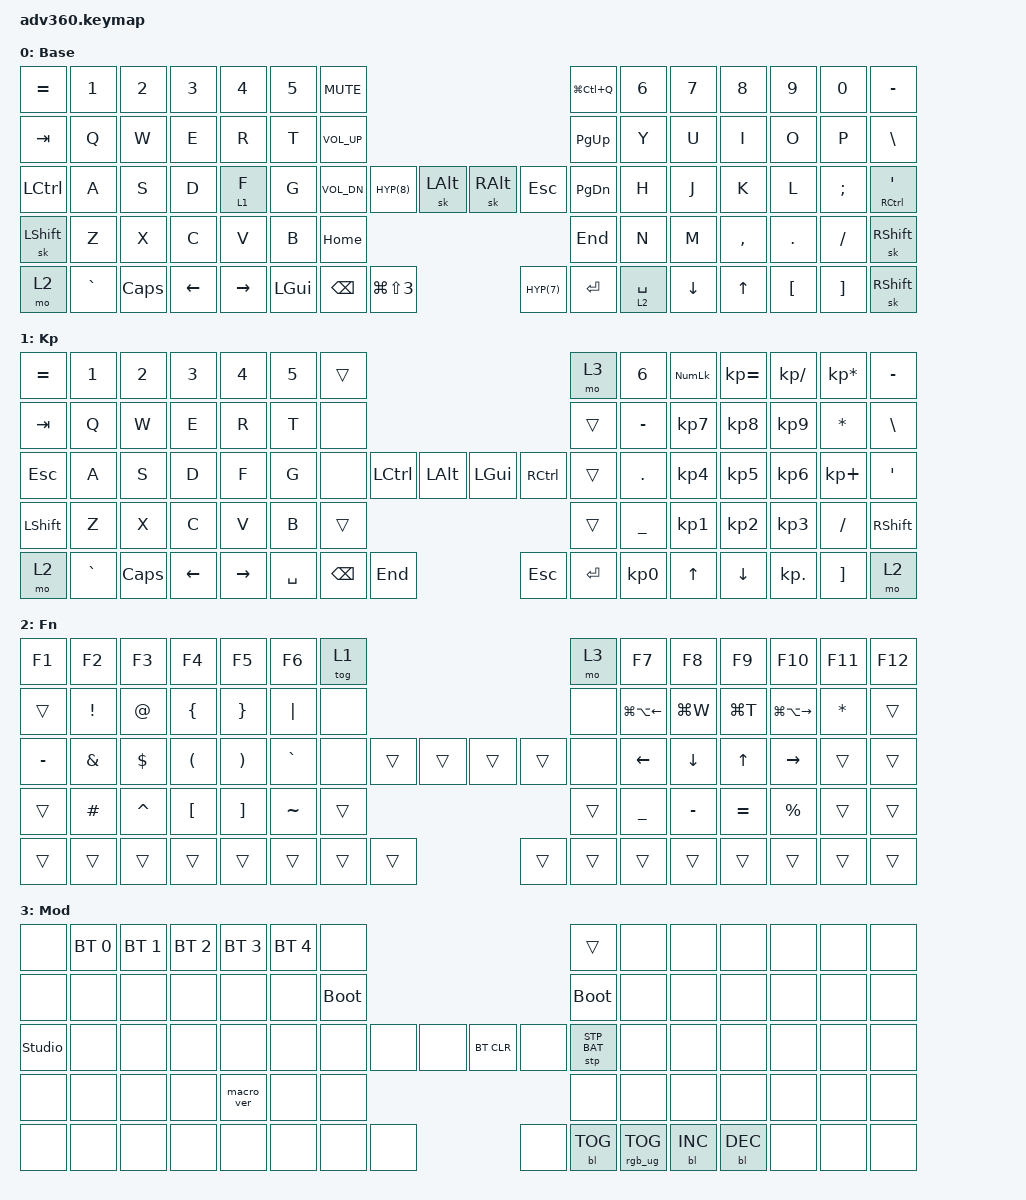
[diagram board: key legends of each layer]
#include <behaviors.dtsi>
#include <dt-bindings/zmk/keys.h>
#include <dt-bindings/zmk/bt.h>
#include <dt-bindings/zmk/rgb.h>
#include <dt-bindings/zmk/stp.h>
#include <dt-bindings/zmk/backlight.h>
#include <dt-bindings/zmk/pointing.h>

&lt {
    quick_tap_ms = <200>;
};

&mt {
    tapping-term-ms = <200>;
    flavor = "tap-preferred";
    retro-tap;
};

&sk {
    release-after-ms = <2000>;
    quick-release;
};

/ {

#define HYP(key) LS(LC(LA(LG(key))))
#define HYPER    LS(LC(LA(LGUI)))
#define MACLOCK  LG(LC(Q))

#define BNEW LG(T) 
#define BCLS LG(W) 
#define BNEXT LG(LA(RIGHT))
#define BPREV LG(LA(LEFT))


};

/ {
    behaviors {
      #include "macros.dtsi"
      #include "version.dtsi"

      hm: homerow_mods {
          compatible = "zmk,behavior-hold-tap";
          label = "HOMEROW_MODS";
          #binding-cells = <2>;
          tapping-term-ms = <200>;
          quick_tap_ms = <175>;
          flavor = "tap-preferred";
          bindings = <&kp>, <&kp>;
      };
    };

  keymap {
    compatible = "zmk,keymap";
    
    default_layer {
      display-name = "Base";
      bindings = <
        &kp EQUAL &kp N1    &kp N2   &kp N3   &kp N4     &kp N5 &kp C_MUTE                                                              &kp MACLOCK  &kp N6 &kp N7   &kp N8    &kp N9   &kp N0   &kp MINUS
        &kp TAB   &kp Q     &kp W    &kp E    &kp R      &kp T  &kp C_VOL_UP                                                            &kp PG_UP  &kp Y  &kp U    &kp I     &kp O    &kp P    &kp BSLH
        &kp LCTRL &kp A     &kp S    &kp D    &lt 1 F    &kp G  &kp C_VOL_DN           &kp HYP(8) &sk LALT &sk RALT  &kp ESC           &kp PG_DN &kp H  &kp J    &kp K     &kp L    &kp SEMI &mt RCTRL SQT
        &sk LSHFT   &kp Z     &kp X    &kp C    &kp V      &kp B                            &kp HOME  &kp END                                       &kp N  &kp M    &kp COMMA &kp DOT  &kp FSLH &sk RSHFT
        &mo 2 &kp GRAVE &kp CAPS &kp LEFT &kp RIGHT                &kp LGUI &kp BSPC  &kp LG(LS(N3))  &kp HYP(7) &kp ENTER &lt 2 SPACE             &kp DOWN &kp UP &kp LBKT  &kp RBKT &sk RSHFT
      >;
    };

    keypad {
      display-name = "Kp";
      bindings = <
        &kp EQUAL &kp N1    &kp N2   &kp N3   &kp N4     &kp N5 &trans                                                           &mo 3 &kp N6    &kp KP_NUM &kp KP_EQUAL &kp KP_DIVIDE &kp KP_MULTIPLY &kp MINUS
        &kp TAB   &kp Q     &kp W    &kp E    &kp R      &kp T  &none                                                            &trans &kp MINUS &kp KP_N7  &kp KP_N8    &kp KP_N9     &kp STAR        &kp BSLH
        &kp ESC   &kp A     &kp S    &kp D    &kp F      &kp G  &none           &kp LCTRL &kp LALT &kp LGUI  &kp RCTRL           &trans &kp DOT   &kp KP_N4  &kp KP_N5    &kp KP_N6     &kp KP_PLUS     &kp SQT
        &kp LSHFT &kp Z     &kp X    &kp C    &kp V      &kp B                            &trans &trans                           &kp UNDER &kp KP_N1  &kp KP_N2    &kp KP_N3     &kp FSLH        &kp RSHFT
        &mo 2     &kp GRAVE &kp CAPS &kp LEFT &kp RIGHT                &kp SPACE &kp BSPC   &kp END  &kp ESC &kp ENTER &kp KP_N0               &kp UP     &kp DOWN     &kp KP_DOT    &kp RBKT        &mo 2
      >;
    };
    fn {
      display-name = "Fn";
      bindings = <
        &kp F1 &kp F2 &kp F3 &kp F4 &kp F5 &kp F6 &tog 1                                                      &mo 3 &kp F7    &kp F8    &kp F9    &kp F10    &kp F11 &kp F12
        &trans &kp EXCL &kp AT    &kp LBRC &kp RBRC &kp PIPE  &none                                           &none &kp BPREV &kp BCLS  &kp BNEW  &kp BNEXT  &kp STAR  &trans
        &kp MINUS &kp AMPS &kp DLLR  &kp LPAR &kp RPAR &kp GRAVE &none        &trans &trans &trans &trans        &none &kp LEFT  &kp DOWN  &kp UP    &kp RIGHT  &trans  &trans
        &trans &kp HASH &kp CARET &kp LBKT &kp RBKT &kp TILDE                      &trans &trans                    &kp UNDER &kp MINUS &kp EQUAL &kp PRCNT  &trans  &trans
        &trans &trans &trans &trans &trans               &trans &trans &trans &trans &trans &trans              &trans &trans &trans  &trans  &trans
      >;
    };
    mod {
      display-name = "Mod";
      bindings = <
        &none &bt BT_SEL 0 &bt BT_SEL 1 &bt BT_SEL 2 &bt BT_SEL 3 &bt BT_SEL 4 &none                                                                     &trans                 &none        &none        &none        &none &none &none
        &none &none        &none        &none        &none        &none        &bootloader                                                               &bootloader            &none        &none        &none        &none &none &none
        &studio_unlock &none        &none        &none        &none        &none        &none                   &none &none &bt BT_CLR &none                      &stp STP_BAT &none        &none        &none        &none &none &none
        &none &none        &none        &none        &macro_ver   &none                                      &none &none                                                        &none        &none        &none        &none &none &none
        &none &none        &none        &none        &none                                       &none &none &none &none      &bl BL_TOG &rgb_ug RGB_TOG                                     &bl BL_INC   &bl BL_DEC   &none &none &none
      >;
    };
    extra1 { 
      display-name = "Red";    
      status = "reserved";
    };

    extra2 { 
      display-name = "Purple";    
      status = "reserved";
    };

    extra3 { 
      display-name = "Cyan";    
      status = "reserved";
    };

    extra4 { 
      display-name = "Yellow";    
      status = "reserved";
    };
  };
};
